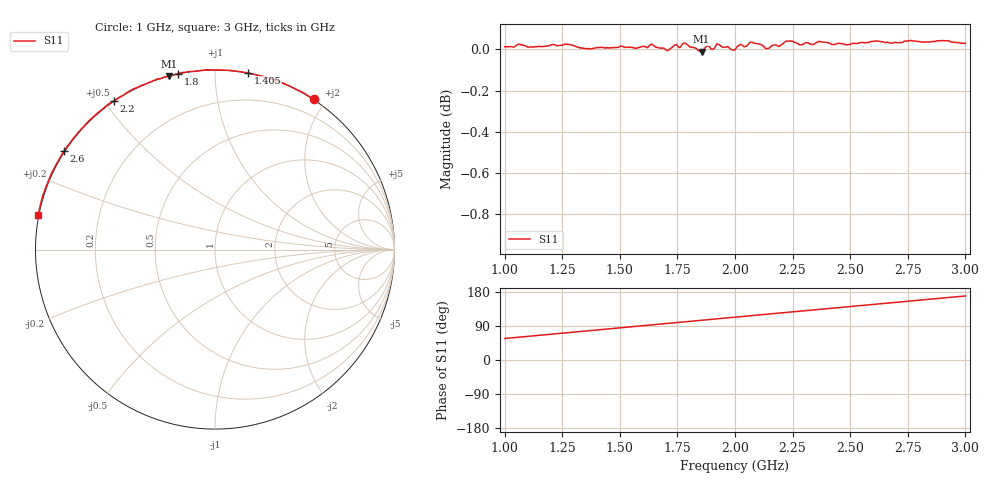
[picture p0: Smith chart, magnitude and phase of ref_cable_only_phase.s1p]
!  02.03.2026  11:00:17
! Ref Plane: 0,000 mm
# MHZ S MA R  50
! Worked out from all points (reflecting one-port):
!   401 points, 1 GHz to 3 GHz, reference 50 ohm
!   lowest |S11| = 0.0 dB at 1.855 GHz (marker M1)
!   phase of S11 starts at 57 deg and turns +112 deg over the sweep
!   S11 on the Smith chart (normalised r, x): 1 GHz: -0.00, +1.85; 1.405 GHz: -0.00, +1.20; 1.8 GHz: -0.00, +0.81; 2.2 GHz: -0.00, +0.53; 2.6 GHz: -0.00, +0.30; 3 GHz: -0.00, +0.10
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1000  1.002 56.7
1010  1.001 57.3
1050  1.002 59.4
1140  1.002 64.7
1250  1.002 70.7
1295  1.002 73.3
1405  1.001 79.4
1500  1.002 84.9
1635  1.003 92.5
1670  1.001 94.6
1750  1.002 98.9
1800  1.002 101.8
1855  0.9988 104.9
1880  1.002 106.2
1925  1.003 108.8
1960  1.001 110.9
2000  1 113.0
2075  1.004 117.2
2200  1.003 124.3
2250  1.005 127.2
2370  1.004 133.8
2500  1.003 141.2
2600  1.005 146.7
2750  1.005 155.1
2805  1.004 158.2
2895  1.005 163.2
2990  1.004 168.5
3000  1.003 169.0
